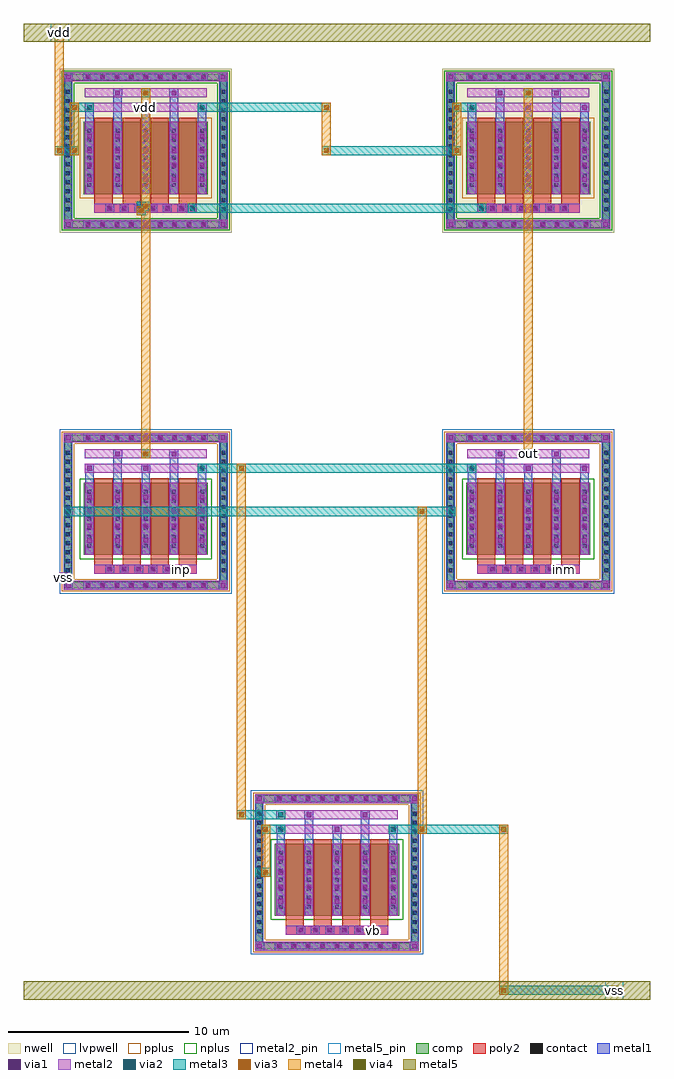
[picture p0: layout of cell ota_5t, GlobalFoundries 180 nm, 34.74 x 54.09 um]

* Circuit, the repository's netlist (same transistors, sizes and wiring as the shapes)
* NGSPICE file created from ota_5t.ext - technology: gf180mcuD

.subckt ota_5t vdd vss vb out inm inp
X0 out inm a_n688_3519# vss nfet_03v3 ad=1.12p pd=4.56u as=2.4p ps=9.2u w=4u l=1u
X1 vdd a_n568_7311# a_n568_7311# vdd pfet_03v3 ad=2.4p pd=9.2u as=1.12p ps=4.56u w=4u l=1u
X2 vss vb a_n688_3519# vss nfet_03v3 ad=2.4p pd=9.2u as=1.12p ps=4.56u w=4u l=1u
X3 a_n688_3519# inp a_n568_7311# vss nfet_03v3 ad=2.4p pd=9.2u as=1.12p ps=4.56u w=4u l=1u
X4 out a_n568_7311# vdd vdd pfet_03v3 ad=1.12p pd=4.56u as=1.12p ps=4.56u w=4u l=1u
X5 a_n568_7311# a_n568_7311# vdd vdd pfet_03v3 ad=1.12p pd=4.56u as=1.12p ps=4.56u w=4u l=1u
X6 vdd a_n568_7311# a_n568_7311# vdd pfet_03v3 ad=1.12p pd=4.56u as=1.12p ps=4.56u w=4u l=1u
X7 out inm a_n688_3519# vss nfet_03v3 ad=1.12p pd=4.56u as=1.12p ps=4.56u w=4u l=1u
X8 vdd a_n568_7311# out vdd pfet_03v3 ad=1.12p pd=4.56u as=1.12p ps=4.56u w=4u l=1u
X9 vdd a_n568_7311# out vdd pfet_03v3 ad=2.4p pd=9.2u as=1.12p ps=4.56u w=4u l=1u
X10 a_n688_3519# inp a_n568_7311# vss nfet_03v3 ad=1.12p pd=4.56u as=1.12p ps=4.56u w=4u l=1u
X11 a_n568_7311# inp a_n688_3519# vss nfet_03v3 ad=1.12p pd=4.56u as=1.12p ps=4.56u w=4u l=1u
X12 a_n688_3519# vb vss vss nfet_03v3 ad=1.12p pd=4.56u as=2.4p ps=9.2u w=4u l=1u
X13 a_n688_3519# inm out vss nfet_03v3 ad=1.12p pd=4.56u as=1.12p ps=4.56u w=4u l=1u
X14 a_n688_3519# inm out vss nfet_03v3 ad=2.4p pd=9.2u as=1.12p ps=4.56u w=4u l=1u
X15 a_n688_3519# vb vss vss nfet_03v3 ad=1.12p pd=4.56u as=1.12p ps=4.56u w=4u l=1u
X16 a_n568_7311# a_n568_7311# vdd vdd pfet_03v3 ad=1.12p pd=4.56u as=2.4p ps=9.2u w=4u l=1u
X17 a_n568_7311# inp a_n688_3519# vss nfet_03v3 ad=1.12p pd=4.56u as=2.4p ps=9.2u w=4u l=1u
X18 vss vb a_n688_3519# vss nfet_03v3 ad=1.12p pd=4.56u as=1.12p ps=4.56u w=4u l=1u
X19 out a_n568_7311# vdd vdd pfet_03v3 ad=1.12p pd=4.56u as=2.4p ps=9.2u w=4u l=1u
.ends

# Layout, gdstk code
import gdstk
lib = gdstk.Library(unit=1e-6, precision=5e-09)
def R(c, l, rs):  # rectangles x0, y0, x1, y1
    for r in rs: c.add(gdstk.rectangle(r[:2], r[2:], *l))
def A(c, l, x, y, w, h, nx, ny, dx, dy):  # array of equal rectangles
    R(c, l, [(x+i*dx, y+j*dy, x+i*dx+w, y+j*dy+h) for i in range(nx) for j in range(ny)])
def P(c, l, *ps):  # polygons
    for p in ps: c.add(gdstk.Polygon(p, *l))
nwell = (21, 0)
comp = (22, 0)
poly2 = (30, 0)
pplus = (31, 0)
nplus = (32, 0)
contact = (33, 0)
metal1 = (34, 0)
via1 = (35, 0)
metal2 = (36, 0)
metal2_pin = (36, 10)
via2 = (38, 0)
via3 = (40, 0)
via4 = (41, 0)
metal3 = (42, 0)
metal4 = (46, 0)
metal5 = (81, 0)
metal5_pin = (81, 10)
lvpwell = (204, 0)

ota_5t = lib.new_cell('ota_5t')
R(ota_5t, nwell, [(-4.77,35.455,4.77,44.545), (16.43,35.455,25.97,44.545), (-4.61,35.615,4.61,44.385), (16.59,35.615,25.81,44.385)])
A(ota_5t, comp, 7.22, -4.265, 0.36, 0.36, 9, 2, 0.8, 8.17)
A(ota_5t, comp, 6.11, -3.43, 0.36, 0.36, 1, 14, 0, 0.5)
A(ota_5t, comp, 14.73, -3.43, 0.36, 0.36, 1, 14, 0, 0.5)
A(ota_5t, comp, -3.38, 15.735, 0.36, 0.36, 9, 2, 0.8, 8.17)
A(ota_5t, comp, 17.82, 15.735, 0.36, 0.36, 9, 2, 0.8, 8.17)
A(ota_5t, comp, -4.49, 16.57, 0.36, 0.36, 1, 14, 0, 0.5)
A(ota_5t, comp, 4.13, 16.57, 0.36, 0.36, 1, 14, 0, 0.5)
A(ota_5t, comp, 16.71, 16.57, 0.36, 0.36, 1, 14, 0, 0.5)
A(ota_5t, comp, 25.33, 16.57, 0.36, 0.36, 1, 14, 0, 0.5)
A(ota_5t, comp, -3.38, 35.735, 0.36, 0.36, 9, 2, 0.8, 8.17)
A(ota_5t, comp, 17.82, 35.735, 0.36, 0.36, 9, 2, 0.8, 8.17)
A(ota_5t, comp, -4.49, 36.57, 0.36, 0.36, 1, 14, 0, 0.5)
A(ota_5t, comp, 4.13, 36.57, 0.36, 0.36, 1, 14, 0, 0.5)
A(ota_5t, comp, 16.71, 36.57, 0.36, 0.36, 1, 14, 0, 0.5)
A(ota_5t, comp, 25.33, 36.57, 0.36, 0.36, 1, 14, 0, 0.5)
R(ota_5t, comp, [(7.22,-4.265,13.98,-3.905), (6.11,-3.43,6.47,3.43), (14.73,-3.43,15.09,3.43), (7.16,-2.405,14.04,1.595), (7.22,3.905,13.98,4.265), (-3.38,15.735,3.38,16.095), (17.82,15.735,24.58,16.095), (-4.49,16.57,-4.13,23.43), (4.13,16.57,4.49,23.43), (16.71,16.57,17.07,23.43), (25.33,16.57,25.69,23.43), (-3.44,17.595,3.44,21.595), (17.76,17.595,24.64,21.595), (-3.38,23.905,3.38,24.265), (17.82,23.905,24.58,24.265), (-3.38,35.735,3.38,36.095), (17.82,35.735,24.58,36.095), (-4.49,36.57,-4.13,43.43), (4.13,36.57,4.49,43.43), (16.71,36.57,17.07,43.43), (25.33,36.57,25.69,43.43), (-3.44,37.595,3.44,41.595), (17.76,37.595,24.64,41.595), (-3.38,43.905,3.38,44.265), (17.82,43.905,24.58,44.265)])
P(ota_5t, comp, [(4.49,24.265),(-4.49,24.265),(-4.49,16.095),(-4.13,16.095),(-4.13,23.905),(4.13,23.905),(4.13,16.095),(-4.13,16.095),(-4.49,16.095),(-4.49,15.735),(4.49,15.735)],
  [(15.09,4.265),(6.11,4.265),(6.11,-3.905),(6.47,-3.905),(6.47,3.905),(14.73,3.905),(14.73,-3.905),(6.47,-3.905),(6.11,-3.905),(6.11,-4.265),(15.09,-4.265)],
  [(25.69,44.265),(16.71,44.265),(16.71,36.095),(17.07,36.095),(17.07,43.905),(25.33,43.905),(25.33,36.095),(17.07,36.095),(16.71,36.095),(16.71,35.735),(25.69,35.735)],
  [(4.49,44.265),(-4.49,44.265),(-4.49,36.095),(-4.13,36.095),(-4.13,43.905),(4.13,43.905),(4.13,36.095),(-4.13,36.095),(-4.49,36.095),(-4.49,35.735),(4.49,35.735)],
  [(25.69,24.265),(16.71,24.265),(16.71,16.095),(17.07,16.095),(17.07,23.905),(25.33,23.905),(25.33,16.095),(17.07,16.095),(16.71,16.095),(16.71,15.735),(25.69,15.735)])
A(ota_5t, poly2, 8.42, -3.375, 0.36, 0.36, 6, 1, 0.8, 0)
A(ota_5t, poly2, 7.76, -2.945, 1, 0.3, 4, 1, 1.56, 0)
A(ota_5t, poly2, 7.76, -2.645, 1, 4.48, 4, 1, 1.56, 0)
A(ota_5t, poly2, -2.18, 16.625, 0.36, 0.36, 6, 2, 0.8, 20)
A(ota_5t, poly2, 19.02, 16.625, 0.36, 0.36, 6, 2, 0.8, 20)
A(ota_5t, poly2, -2.84, 17.055, 1, 0.3, 4, 2, 1.56, 20)
A(ota_5t, poly2, 18.36, 17.055, 1, 0.3, 4, 2, 1.56, 20)
A(ota_5t, poly2, -2.84, 17.355, 1, 4.48, 4, 2, 1.56, 20)
A(ota_5t, poly2, 18.36, 17.355, 1, 4.48, 4, 2, 1.56, 20)
R(ota_5t, poly2, [(7.76,-3.445,13.44,-2.945), (-2.84,16.555,2.84,17.055), (18.36,16.555,24.04,17.055), (-2.84,36.555,2.84,37.055), (18.36,36.555,24.04,37.055)])
R(ota_5t, pplus, [(-3.67,37.365,3.67,41.825), (17.53,37.365,24.87,41.825)])
P(ota_5t, pplus, [(4.65,24.425),(-4.65,24.425),(-4.65,16.255),(-3.97,16.255),(-3.97,23.745),(3.97,23.745),(3.97,16.255),(-3.97,16.255),(-4.65,16.255),(-4.65,15.575),(4.65,15.575)],
  [(15.25,4.425),(5.95,4.425),(5.95,-3.745),(6.63,-3.745),(6.63,3.745),(14.57,3.745),(14.57,-3.745),(6.63,-3.745),(5.95,-3.745),(5.95,-4.425),(15.25,-4.425)],
  [(25.85,24.425),(16.55,24.425),(16.55,16.255),(17.23,16.255),(17.23,23.745),(25.17,23.745),(25.17,16.255),(17.23,16.255),(16.55,16.255),(16.55,15.575),(25.85,15.575)])
R(ota_5t, nplus, [(6.93,-2.635,14.27,1.825), (-3.67,17.365,3.67,21.825), (17.53,17.365,24.87,21.825)])
P(ota_5t, nplus, [(25.85,44.425),(16.55,44.425),(16.55,36.255),(17.23,36.255),(17.23,43.745),(25.17,43.745),(25.17,36.255),(17.23,36.255),(16.55,36.255),(16.55,35.575),(25.85,35.575)],
  [(4.65,44.425),(-4.65,44.425),(-4.65,36.255),(-3.97,36.255),(-3.97,43.745),(3.97,43.745),(3.97,36.255),(-3.97,36.255),(-4.65,36.255),(-4.65,35.575),(4.65,35.575)])
A(ota_5t, contact, 7.29, -4.195, 0.22, 0.22, 9, 2, 0.8, 8.17)
A(ota_5t, contact, 6.18, -3.36, 0.22, 0.22, 1, 14, 0, 0.5)
A(ota_5t, contact, 14.8, -3.36, 0.22, 0.22, 1, 14, 0, 0.5)
A(ota_5t, contact, 8.49, -3.305, 0.22, 0.22, 6, 1, 0.8, 0)
A(ota_5t, contact, 7.37, -2.015, 0.22, 0.22, 5, 7, 1.56, 0.5)
A(ota_5t, contact, -3.31, 15.805, 0.22, 0.22, 9, 2, 0.8, 8.17)
A(ota_5t, contact, 17.89, 15.805, 0.22, 0.22, 9, 2, 0.8, 8.17)
A(ota_5t, contact, -4.42, 16.64, 0.22, 0.22, 1, 14, 0, 0.5)
A(ota_5t, contact, 4.2, 16.64, 0.22, 0.22, 1, 14, 0, 0.5)
A(ota_5t, contact, 16.78, 16.64, 0.22, 0.22, 1, 14, 0, 0.5)
A(ota_5t, contact, 25.4, 16.64, 0.22, 0.22, 1, 14, 0, 0.5)
A(ota_5t, contact, -2.11, 16.695, 0.22, 0.22, 6, 2, 0.8, 20)
A(ota_5t, contact, 19.09, 16.695, 0.22, 0.22, 6, 2, 0.8, 20)
A(ota_5t, contact, -3.23, 17.985, 0.22, 0.22, 5, 7, 1.56, 0.5)
A(ota_5t, contact, 17.97, 17.985, 0.22, 0.22, 5, 7, 1.56, 0.5)
A(ota_5t, contact, -3.31, 35.805, 0.22, 0.22, 9, 2, 0.8, 8.17)
A(ota_5t, contact, 17.89, 35.805, 0.22, 0.22, 9, 2, 0.8, 8.17)
A(ota_5t, contact, -4.42, 36.64, 0.22, 0.22, 1, 14, 0, 0.5)
A(ota_5t, contact, 4.2, 36.64, 0.22, 0.22, 1, 14, 0, 0.5)
A(ota_5t, contact, 16.78, 36.64, 0.22, 0.22, 1, 14, 0, 0.5)
A(ota_5t, contact, 25.4, 36.64, 0.22, 0.22, 1, 14, 0, 0.5)
A(ota_5t, contact, -3.23, 37.985, 0.22, 0.22, 5, 7, 1.56, 0.5)
A(ota_5t, contact, 17.97, 37.985, 0.22, 0.22, 5, 7, 1.56, 0.5)
A(ota_5t, metal1, 6.06, -4.335, 0.5, 0.5, 1, 3, 0, 4.085)
A(ota_5t, metal1, 7.15, -4.335, 0.5, 0.5, 9, 2, 0.8, 8.17)
A(ota_5t, metal1, 6.06, -3.48, 0.46, 0.46, 1, 14, 0, 0.5)
A(ota_5t, metal1, 14.68, -3.48, 0.46, 0.46, 1, 14, 0, 0.5)
A(ota_5t, metal1, 8.35, -3.445, 0.5, 0.5, 6, 1, 0.8, 0)
A(ota_5t, metal1, 7.25, -2.405, 0.46, 4, 5, 1, 1.56, 0)
A(ota_5t, metal1, 7.25, -2.135, 0.46, 0.46, 5, 7, 1.56, 0.5)
A(ota_5t, metal1, 7.23, -1.855, 0.5, 0.5, 5, 4, 1.56, 0.8)
A(ota_5t, metal1, 7.23, -1.855, 0.5, 2.9, 5, 1, 1.56, 0)
A(ota_5t, metal1, 7.25, 1.595, 0.46, 1.05, 3, 1, 3.12, 0)
A(ota_5t, metal1, 7.23, 2.145, 0.5, 0.5, 3, 1, 3.12, 0)
A(ota_5t, metal1, -4.54, 15.665, 0.5, 0.5, 1, 3, 0, 4.085)
A(ota_5t, metal1, -3.45, 15.665, 0.5, 0.5, 9, 2, 0.8, 8.17)
A(ota_5t, metal1, 17.75, 15.665, 0.5, 0.5, 9, 2, 0.8, 8.17)
A(ota_5t, metal1, -4.54, 16.52, 0.46, 0.46, 1, 14, 0, 0.5)
A(ota_5t, metal1, 4.08, 16.52, 0.46, 0.46, 1, 14, 0, 0.5)
A(ota_5t, metal1, 16.66, 16.52, 0.46, 0.46, 1, 14, 0, 0.5)
A(ota_5t, metal1, 25.28, 16.52, 0.46, 0.46, 1, 14, 0, 0.5)
A(ota_5t, metal1, -2.25, 16.555, 0.5, 0.5, 6, 2, 0.8, 20)
A(ota_5t, metal1, 18.95, 16.555, 0.5, 0.5, 6, 2, 0.8, 20)
A(ota_5t, metal1, -3.35, 17.595, 0.46, 4, 5, 2, 1.56, 20)
A(ota_5t, metal1, 17.85, 17.595, 0.46, 4, 5, 2, 1.56, 20)
A(ota_5t, metal1, -3.35, 17.865, 0.46, 0.46, 5, 7, 1.56, 0.5)
A(ota_5t, metal1, 17.85, 17.865, 0.46, 0.46, 5, 7, 1.56, 0.5)
A(ota_5t, metal1, -3.37, 18.145, 0.5, 0.5, 5, 4, 1.56, 0.8)
A(ota_5t, metal1, -3.37, 18.145, 0.5, 2.9, 5, 2, 1.56, 20)
A(ota_5t, metal1, 17.83, 18.145, 0.5, 0.5, 5, 4, 1.56, 0.8)
A(ota_5t, metal1, 17.83, 18.145, 0.5, 2.9, 5, 2, 1.56, 20)
A(ota_5t, metal1, -3.35, 21.595, 0.46, 1.05, 3, 2, 3.12, 20)
A(ota_5t, metal1, 17.85, 21.595, 0.46, 1.05, 3, 2, 3.12, 20)
A(ota_5t, metal1, -3.37, 22.145, 0.5, 0.5, 3, 2, 3.12, 20)
A(ota_5t, metal1, 17.83, 22.145, 0.5, 0.5, 3, 2, 3.12, 20)
A(ota_5t, metal1, -3.45, 35.665, 0.5, 0.5, 9, 2, 0.8, 8.17)
A(ota_5t, metal1, 17.75, 35.665, 0.5, 0.5, 9, 2, 0.8, 8.17)
A(ota_5t, metal1, -4.54, 36.52, 0.46, 0.46, 1, 14, 0, 0.5)
A(ota_5t, metal1, 4.08, 36.52, 0.46, 0.46, 1, 14, 0, 0.5)
A(ota_5t, metal1, 16.66, 36.52, 0.46, 0.46, 1, 14, 0, 0.5)
A(ota_5t, metal1, 25.28, 36.52, 0.46, 0.46, 1, 14, 0, 0.5)
A(ota_5t, metal1, -3.35, 37.865, 0.46, 0.46, 5, 7, 1.56, 0.5)
A(ota_5t, metal1, 17.85, 37.865, 0.46, 0.46, 5, 7, 1.56, 0.5)
A(ota_5t, metal1, -3.37, 38.145, 0.5, 0.5, 5, 4, 1.56, 0.8)
A(ota_5t, metal1, 17.83, 38.145, 0.5, 0.5, 5, 4, 1.56, 0.8)
R(ota_5t, metal1, [(6.06,-4.335,6.56,-3.835), (6.06,-4.335,6.52,-3.905), (7.15,-4.335,14.05,-3.835), (14.64,-4.335,15.14,-3.835), (14.64,-4.335,15.14,-3.835), (14.68,-4.335,15.14,-3.905), (6.06,-3.905,6.52,3.905), (14.68,-3.905,15.14,3.905), (8.81,1.595,9.27,3.445), (11.93,1.595,12.39,3.445), (8.79,2.945,9.29,3.445), (11.91,2.945,12.41,3.445), (6.06,3.835,6.56,4.335), (7.15,3.835,14.05,4.335), (14.64,3.835,15.14,4.335), (14.64,3.835,15.14,4.335), (6.06,3.905,6.52,4.335), (14.68,3.905,15.14,4.335), (-4.54,15.665,-4.04,16.165), (-4.54,15.665,-4.08,16.095), (-3.45,15.665,3.45,16.165), (4.04,15.665,4.54,16.165), (4.04,15.665,4.54,16.165), (4.08,15.665,4.54,16.095), (16.66,15.665,17.16,16.165), (16.66,15.665,17.16,16.165), (16.66,15.665,17.12,16.095), (17.75,15.665,24.65,16.165), (25.24,15.665,25.74,16.165), (25.24,15.665,25.74,16.165), (25.28,15.665,25.74,16.095), (-4.54,16.095,-4.08,23.905), (4.08,16.095,4.54,23.905), (16.66,16.095,17.12,23.905), (25.28,16.095,25.74,23.905), (16.66,19.75,17.16,20.25), (16.66,19.75,17.16,20.25), (-1.79,21.595,-1.33,23.445), (1.33,21.595,1.79,23.445), (19.41,21.595,19.87,23.445), (22.53,21.595,22.99,23.445), (-1.81,22.945,-1.31,23.445), (1.31,22.945,1.81,23.445), (19.39,22.945,19.89,23.445), (22.51,22.945,23.01,23.445), (-4.54,23.835,-4.04,24.335), (-3.45,23.835,3.45,24.335), (4.04,23.835,4.54,24.335), (4.04,23.835,4.54,24.335), (16.66,23.835,17.16,24.335), (16.66,23.835,17.16,24.335), (17.75,23.835,24.65,24.335), (25.24,23.835,25.74,24.335), (25.24,23.835,25.74,24.335), (-4.54,23.905,-4.08,24.335), (4.08,23.905,4.54,24.335), (16.66,23.905,17.12,24.335), (25.28,23.905,25.74,24.335), (-4.54,35.665,-4.04,36.165), (-4.54,35.665,-4.04,36.165), (-4.54,35.665,-4.08,36.095), (-3.45,35.665,3.45,36.165), (4.04,35.665,4.54,36.165), (4.04,35.665,4.54,36.165), (4.08,35.665,4.54,36.095), (16.66,35.665,17.16,36.165), (16.66,35.665,17.16,36.165), (16.66,35.665,17.12,36.095), (17.75,35.665,24.65,36.165), (25.24,35.665,25.74,36.165), (25.24,35.665,25.74,36.165), (25.28,35.665,25.74,36.095), (-4.54,36.095,-4.08,43.905), (4.08,36.095,4.54,43.905), (16.66,36.095,17.12,43.905), (25.28,36.095,25.74,43.905), (-4.54,39.75,-4.04,40.25), (-4.54,39.75,-4.04,40.25), (16.66,39.75,17.16,40.25), (16.66,39.75,17.16,40.25), (-1.79,41.595,-1.33,43.445), (1.33,41.595,1.79,43.445), (19.41,41.595,19.87,43.445), (22.53,41.595,22.99,43.445), (-1.81,42.945,-1.31,43.445), (1.31,42.945,1.81,43.445), (19.39,42.945,19.89,43.445), (22.51,42.945,23.01,43.445), (-4.54,43.835,-4.04,44.335), (-4.54,43.835,-4.04,44.335), (-3.45,43.835,3.45,44.335), (4.04,43.835,4.54,44.335), (4.04,43.835,4.54,44.335), (16.66,43.835,17.16,44.335), (16.66,43.835,17.16,44.335), (17.75,43.835,24.65,44.335), (25.24,43.835,25.74,44.335), (25.24,43.835,25.74,44.335), (-4.54,43.905,-4.08,44.335), (4.08,43.905,4.54,44.335), (16.66,43.905,17.12,44.335), (25.28,43.905,25.74,44.335)])
A(ota_5t, via1, 6.18, -4.215, 0.26, 0.26, 1, 3, 0, 4.085)
A(ota_5t, via1, 7.27, -4.215, 0.26, 0.26, 9, 2, 0.8, 8.17)
A(ota_5t, via1, 8.47, -3.325, 0.26, 0.26, 6, 1, 0.8, 0)
A(ota_5t, via1, 7.35, -1.735, 0.26, 0.26, 5, 4, 1.56, 0.8)
A(ota_5t, via1, 7.35, 2.265, 0.26, 0.26, 3, 1, 3.12, 0)
A(ota_5t, via1, -4.42, 15.785, 0.26, 0.26, 1, 3, 0, 4.085)
A(ota_5t, via1, -3.33, 15.785, 0.26, 0.26, 9, 2, 0.8, 8.17)
A(ota_5t, via1, 17.87, 15.785, 0.26, 0.26, 9, 2, 0.8, 8.17)
A(ota_5t, via1, -2.13, 16.675, 0.26, 0.26, 6, 2, 0.8, 20)
A(ota_5t, via1, 19.07, 16.675, 0.26, 0.26, 6, 2, 0.8, 20)
A(ota_5t, via1, -3.25, 18.265, 0.26, 0.26, 5, 4, 1.56, 0.8)
A(ota_5t, via1, 17.95, 18.265, 0.26, 0.26, 5, 4, 1.56, 0.8)
A(ota_5t, via1, -3.25, 22.265, 0.26, 0.26, 3, 2, 3.12, 20)
A(ota_5t, via1, 17.95, 22.265, 0.26, 0.26, 3, 2, 3.12, 20)
A(ota_5t, via1, -3.33, 35.785, 0.26, 0.26, 9, 2, 0.8, 8.17)
A(ota_5t, via1, 17.87, 35.785, 0.26, 0.26, 9, 2, 0.8, 8.17)
A(ota_5t, via1, -3.25, 38.265, 0.26, 0.26, 5, 4, 1.56, 0.8)
A(ota_5t, via1, 17.95, 38.265, 0.26, 0.26, 5, 4, 1.56, 0.8)
R(ota_5t, via1, [(14.76,-4.215,15.02,-3.955), (8.91,3.065,9.17,3.325), (12.03,3.065,12.29,3.325), (14.76,3.955,15.02,4.215), (4.16,15.785,4.42,16.045), (16.78,15.785,17.04,16.045), (25.36,15.785,25.62,16.045), (16.78,19.87,17.04,20.13), (16.78,19.87,17.04,20.13), (-1.69,23.065,-1.43,23.325), (1.43,23.065,1.69,23.325), (19.51,23.065,19.77,23.325), (22.63,23.065,22.89,23.325), (4.16,23.955,4.42,24.215), (16.78,23.955,17.04,24.215), (25.36,23.955,25.62,24.215), (-4.42,35.785,-4.16,36.045), (4.16,35.785,4.42,36.045), (16.78,35.785,17.04,36.045), (25.36,35.785,25.62,36.045), (-4.42,39.87,-4.16,40.13), (-4.42,39.87,-4.16,40.13), (16.78,39.87,17.04,40.13), (16.78,39.87,17.04,40.13), (-1.69,43.065,-1.43,43.325), (1.43,43.065,1.69,43.325), (19.51,43.065,19.77,43.325), (22.63,43.065,22.89,43.325), (-4.42,43.955,-4.16,44.215), (4.16,43.955,4.42,44.215), (16.78,43.955,17.04,44.215), (25.36,43.955,25.62,44.215)])
A(ota_5t, metal2, 6.06, -4.335, 0.5, 0.5, 1, 3, 0, 4.085)
A(ota_5t, metal2, 7.15, -4.335, 0.5, 0.5, 9, 2, 0.8, 8.17)
A(ota_5t, metal2, 8.35, -3.445, 0.5, 0.5, 6, 1, 0.8, 0)
A(ota_5t, metal2, 7.23, -2.405, 0.5, 4, 5, 1, 1.56, 0)
A(ota_5t, metal2, 7.23, -1.855, 0.5, 0.5, 5, 4, 1.56, 0.8)
A(ota_5t, metal2, 7.23, 2.145, 0.5, 0.5, 3, 1, 3.12, 0)
A(ota_5t, metal2, -4.54, 15.665, 0.5, 0.5, 1, 3, 0, 4.085)
A(ota_5t, metal2, -3.45, 15.665, 0.5, 0.5, 9, 2, 0.8, 8.17)
A(ota_5t, metal2, 17.75, 15.665, 0.5, 0.5, 9, 2, 0.8, 8.17)
A(ota_5t, metal2, -2.25, 16.555, 0.5, 0.5, 6, 2, 0.8, 20)
A(ota_5t, metal2, 18.95, 16.555, 0.5, 0.5, 6, 2, 0.8, 20)
A(ota_5t, metal2, -3.37, 17.595, 0.5, 4, 5, 2, 1.56, 20)
A(ota_5t, metal2, 17.83, 17.595, 0.5, 4, 5, 2, 1.56, 20)
A(ota_5t, metal2, -3.37, 18.145, 0.5, 0.5, 5, 4, 1.56, 0.8)
A(ota_5t, metal2, 17.83, 18.145, 0.5, 0.5, 5, 4, 1.56, 0.8)
A(ota_5t, metal2, -3.37, 22.145, 0.5, 0.5, 3, 1, 3.12, 0)
A(ota_5t, metal2, 17.83, 22.145, 0.5, 0.5, 3, 2, 3.12, 20)
A(ota_5t, metal2, -1.81, 22.945, 0.5, 0.5, 3, 2, 1.56, 20)
A(ota_5t, metal2, -3.45, 35.665, 0.5, 0.5, 9, 2, 0.8, 8.17)
A(ota_5t, metal2, 17.75, 35.665, 0.5, 0.5, 9, 2, 0.8, 8.17)
A(ota_5t, metal2, -3.37, 38.145, 0.5, 0.5, 5, 4, 1.56, 0.8)
A(ota_5t, metal2, 17.83, 38.145, 0.5, 0.5, 5, 4, 1.56, 0.8)
A(ota_5t, metal2, 19.39, 42.945, 0.5, 0.5, 3, 1, 1.56, 0)
R(ota_5t, metal2, [(25.72,-6.795,26.22,-6.295), (25.72,-6.795,26.22,-6.295), (6.06,-4.335,6.56,-3.835), (6.06,-4.335,6.47,-3.835), (6.47,-4.335,14.73,-3.835), (14.64,-4.335,15.14,-3.835), (14.64,-4.335,15.14,-3.835), (14.73,-4.335,15.14,-3.835), (7.76,-3.445,13.44,-2.945), (12.35,-3.445,12.85,-2.945), (7.23,2.145,7.73,2.645), (7.23,2.145,13.97,2.645), (13.47,2.145,13.97,2.645), (13.47,2.145,13.97,2.645), (7.23,2.945,7.73,3.445), (7.23,2.945,13.97,3.445), (8.79,2.945,9.29,3.445), (11.91,2.945,12.41,3.445), (6.06,3.835,6.56,4.335), (6.06,3.835,6.47,4.335), (6.47,3.835,14.73,4.335), (14.64,3.835,15.14,4.335), (14.64,3.835,15.14,4.335), (14.73,3.835,15.14,4.335), (-4.54,15.665,-4.04,16.165), (-4.54,15.665,-4.13,16.165), (-4.13,15.665,4.13,16.165), (4.04,15.665,4.54,16.165), (4.04,15.665,4.54,16.165), (4.13,15.665,4.54,16.165), (16.66,15.665,17.16,16.165), (16.66,15.665,17.16,16.165), (16.66,15.665,17.07,16.165), (17.07,15.665,25.33,16.165), (25.24,15.665,25.74,16.165), (25.24,15.665,25.74,16.165), (25.33,15.665,25.74,16.165), (-4.79,16.095,-4.29,16.595), (-2.84,16.555,2.84,17.055), (1.75,16.555,2.25,17.055), (18.36,16.555,24.04,17.055), (22.95,16.555,23.45,17.055), (16.66,19.75,17.16,20.25), (16.66,19.75,17.16,20.25), (-3.37,22.145,3.37,22.645), (2.87,22.145,3.37,22.645), (2.87,22.145,3.37,22.645), (17.83,22.145,18.33,22.645), (17.83,22.145,24.57,22.645), (-3.37,22.945,3.37,23.445), (17.83,22.945,24.57,23.445), (19.39,22.945,19.89,23.445), (20.95,22.945,21.45,23.445), (20.95,22.945,21.45,23.445), (22.51,22.945,23.01,23.445), (-4.54,23.835,-4.04,24.335), (-4.54,23.835,-4.13,24.335), (-4.13,23.835,4.13,24.335), (4.04,23.835,4.54,24.335), (4.04,23.835,4.54,24.335), (4.13,23.835,4.54,24.335), (16.66,23.835,17.16,24.335), (16.66,23.835,17.16,24.335), (16.66,23.835,17.07,24.335), (17.07,23.835,25.33,24.335), (25.24,23.835,25.74,24.335), (25.24,23.835,25.74,24.335), (25.33,23.835,25.74,24.335), (-4.54,35.665,-4.04,36.165), (-4.54,35.665,-4.04,36.165), (-4.54,35.665,-4.13,36.165), (-4.13,35.665,4.13,36.165), (4.04,35.665,4.54,36.165), (4.04,35.665,4.54,36.165), (4.13,35.665,4.54,36.165), (16.66,35.665,17.16,36.165), (16.66,35.665,17.16,36.165), (16.66,35.665,17.07,36.165), (17.07,35.665,25.33,36.165), (25.24,35.665,25.74,36.165), (25.24,35.665,25.74,36.165), (25.33,35.665,25.74,36.165), (-0.5,36.43,0,36.93), (-2.84,36.555,2.84,37.055), (2.34,36.555,2.84,37.055), (18.36,36.555,18.86,37.055), (18.36,36.555,24.04,37.055), (-0.5,36.68,0,37.18), (-4.54,39.75,-4.04,40.25), (-4.54,39.75,-4.04,40.25), (16.66,39.75,17.16,40.25), (16.66,39.75,17.16,40.25), (-3.37,42.145,-2.87,42.645), (-3.37,42.145,-2.87,42.645), (-3.37,42.145,3.37,42.645), (-0.25,42.145,0.25,42.645), (-0.25,42.145,0.25,42.645), (2.87,42.145,3.37,42.645), (2.87,42.145,3.37,42.645), (17.83,42.145,18.33,42.645), (17.83,42.145,24.57,42.645), (-3.37,42.945,3.37,43.445), (17.83,42.945,24.57,43.445), (-4.54,43.835,-4.04,44.335), (-4.54,43.835,-4.04,44.335), (-4.54,43.835,-4.13,44.335), (-4.13,43.835,4.13,44.335), (4.04,43.835,4.54,44.335), (4.04,43.835,4.54,44.335), (4.13,43.835,4.54,44.335), (16.66,43.835,17.16,44.335), (16.66,43.835,17.16,44.335), (16.66,43.835,17.07,44.335), (17.07,43.835,25.33,44.335), (25.24,43.835,25.74,44.335), (25.24,43.835,25.74,44.335), (25.33,43.835,25.74,44.335), (-5.02,46.295,-4.52,46.795), (-5.02,46.295,-4.52,46.795)])
R(ota_5t, metal2_pin, [(12.35,-3.445,12.85,-2.945), (-4.79,16.095,-4.29,16.595), (1.75,16.555,2.25,17.055), (22.95,16.555,23.45,17.055), (20.95,22.945,21.45,23.445), (-0.25,42.145,0.25,42.645)])
R(ota_5t, via2, [(25.84,-6.675,26.1,-6.415), (25.84,-6.675,26.1,-6.415), (6.18,-0.13,6.44,0.13), (7.35,2.265,7.61,2.525), (13.59,2.265,13.85,2.525), (13.59,2.265,13.85,2.525), (7.35,3.065,7.61,3.325), (-4.42,19.87,-4.16,20.13), (16.78,19.87,17.04,20.13), (16.78,19.87,17.04,20.13), (2.99,22.265,3.25,22.525), (2.99,22.265,3.25,22.525), (17.95,22.265,18.21,22.525), (-0.13,23.065,0.13,23.325), (21.07,23.065,21.33,23.325), (-0.38,36.55,-0.12,36.81), (2.46,36.675,2.72,36.935), (18.48,36.675,18.74,36.935), (-0.38,36.8,-0.12,37.06), (-4.42,39.87,-4.16,40.13), (-4.42,39.87,-4.16,40.13), (16.78,39.87,17.04,40.13), (16.78,39.87,17.04,40.13), (-3.25,42.265,-2.99,42.525), (2.99,42.265,3.25,42.525), (17.95,42.265,18.21,42.525), (-0.13,43.065,0.13,43.325), (21.07,43.065,21.33,43.325), (-4.9,46.415,-4.64,46.675), (-4.9,46.415,-4.64,46.675)])
R(ota_5t, via3, [(19.715,-6.675,19.975,-6.415), (25.84,-6.675,26.1,-6.415), (6.515,-0.13,6.775,0.13), (6.515,2.265,6.775,2.525), (15.185,2.265,15.445,2.525), (19.715,2.265,19.975,2.525), (5.17,3.065,5.43,3.325), (15.185,19.87,15.445,20.13), (5.17,22.265,5.43,22.525), (-0.13,23.065,0.13,23.325), (21.07,23.065,21.33,23.325), (-0.38,36.55,-0.12,36.81), (-0.13,36.8,0.13,37.06), (-4.91,39.87,-4.65,40.13), (-4.085,39.87,-3.825,40.13), (9.885,39.87,10.145,40.13), (17.115,39.87,17.375,40.13), (-4.085,42.265,-3.825,42.525), (9.885,42.265,10.145,42.525), (17.115,42.265,17.375,42.525), (-0.13,43.065,0.13,43.325), (21.07,43.065,21.33,43.325), (-4.91,46.415,-4.65,46.675), (-4.9,46.415,-4.64,46.675)])
R(ota_5t, via4, [(25.84,-6.675,26.1,-6.415), (-4.9,46.415,-4.64,46.675)])
R(ota_5t, metal3, [(19.595,-6.795,20.095,-6.295), (19.845,-6.795,25.72,-6.295), (25.72,-6.795,26.22,-6.295), (25.72,-6.795,26.22,-6.295), (6.06,-0.25,6.645,0.25), (6.06,-0.25,6.56,0.25), (6.395,-0.25,6.895,0.25), (6.395,2.145,6.895,2.645), (6.645,2.145,7.23,2.645), (7.23,2.145,7.73,2.645), (13.47,2.145,13.97,2.645), (13.47,2.145,13.97,2.645), (13.97,2.145,15.315,2.645), (13.97,2.145,19.845,2.645), (15.065,2.145,15.565,2.645), (19.595,2.145,20.095,2.645), (5.05,2.945,5.55,3.445), (5.3,2.945,7.23,3.445), (7.23,2.945,7.73,3.445), (-4.54,19.75,16.66,20.25), (-4.54,19.75,-4.04,20.25), (15.065,19.75,15.565,20.25), (15.315,19.75,16.66,20.25), (16.66,19.75,17.16,20.25), (16.66,19.75,17.16,20.25), (2.87,22.145,3.37,22.645), (2.87,22.145,3.37,22.645), (3.37,22.145,17.83,22.645), (3.37,22.145,5.3,22.645), (5.05,22.145,5.55,22.645), (17.83,22.145,18.33,22.645), (-0.25,22.945,0.25,23.445), (20.95,22.945,21.45,23.445), (-0.5,36.43,0,36.93), (2.34,36.555,2.84,37.055), (2.84,36.555,18.36,37.055), (18.36,36.555,18.86,37.055), (-0.5,36.68,0,37.18), (-0.25,36.68,0.25,37.18), (-5.03,39.75,-4.53,40.25), (-4.78,39.75,-4.54,40.25), (-4.54,39.75,-3.955,40.25), (-4.54,39.75,-4.04,40.25), (-4.54,39.75,-4.04,40.25), (-4.205,39.75,-3.705,40.25), (9.765,39.75,10.265,40.25), (10.015,39.75,16.66,40.25), (16.66,39.75,17.245,40.25), (16.66,39.75,17.16,40.25), (16.66,39.75,17.16,40.25), (16.995,39.75,17.495,40.25), (-4.205,42.145,-3.705,42.645), (-3.955,42.145,-3.37,42.645), (-3.37,42.145,-2.87,42.645), (2.87,42.145,3.37,42.645), (3.37,42.145,10.015,42.645), (9.765,42.145,10.265,42.645), (16.995,42.145,17.495,42.645), (17.245,42.145,17.83,42.645), (17.83,42.145,18.33,42.645), (-0.25,42.945,0.25,43.445), (20.95,42.945,21.45,43.445), (-5.03,46.295,-4.53,46.795), (-5.02,46.295,-4.78,46.795), (-5.02,46.295,-4.52,46.795), (-5.02,46.295,-4.52,46.795)])
R(ota_5t, metal4, [(19.595,-6.795,20.095,-6.295), (25.72,-6.795,26.22,-6.295), (19.595,-6.545,20.095,2.395), (6.395,-0.25,6.895,0.25), (6.395,0,6.895,2.395), (6.395,2.145,6.895,2.645), (15.065,2.145,15.565,2.645), (19.595,2.145,20.095,2.645), (15.065,2.395,15.565,20), (5.05,2.945,5.55,3.445), (5.05,3.195,5.55,22.395), (15.065,19.75,15.565,20.25), (5.05,22.145,5.55,22.645), (-0.25,22.945,0.25,23.445), (20.95,22.945,21.45,23.445), (-0.25,23.445,0.25,36.68), (20.95,23.445,21.45,42.945), (-0.5,36.43,0,36.93), (-0.25,36.68,0.25,37.18), (-0.25,36.93,0.25,42.945), (-5.03,39.75,-4.53,40.25), (-4.205,39.75,-3.705,40.25), (9.765,39.75,10.265,40.25), (16.995,39.75,17.495,40.25), (-5.03,40,-4.53,46.545), (-4.205,40,-3.705,42.395), (9.765,40,10.265,42.395), (16.995,40,17.495,42.395), (-4.205,42.145,-3.705,42.645), (9.765,42.145,10.265,42.645), (16.995,42.145,17.495,42.645), (-0.25,42.945,0.25,43.445), (20.95,42.945,21.45,43.445), (-5.03,46.295,-4.53,46.795), (-5.02,46.295,-4.52,46.795)])
R(ota_5t, metal5, [(-6.77,-7.045,27.97,-6.045), (25.72,-6.795,26.22,-6.295), (-6.77,46.045,27.97,47.045), (-5.02,46.295,-4.52,46.795)])
R(ota_5t, metal5_pin, [(25.47,-7.045,26.47,-6.045), (-5.27,46.045,-4.27,47.045)])
R(ota_5t, lvpwell, [(5.83,-4.545,15.37,4.545), (-4.77,15.455,4.77,24.545), (16.43,15.455,25.97,24.545)])
ota_5t.add(gdstk.Label('vdd', (-4.77,46.545), layer=81, texttype=10))
ota_5t.add(gdstk.Label('vss', (25.97,-6.545), layer=81, texttype=10))
ota_5t.add(gdstk.Label('vb', (12.6,-3.195), layer=36, texttype=10))
ota_5t.add(gdstk.Label('out', (21.2,23.195), layer=36, texttype=10))
ota_5t.add(gdstk.Label('inm', (23.2,16.805), layer=36, texttype=10))
ota_5t.add(gdstk.Label('inp', (2,16.805), layer=36, texttype=10))
ota_5t.add(gdstk.Label('vss', (-4.54,16.345), layer=36, texttype=10))
ota_5t.add(gdstk.Label('vdd', (0,42.395), layer=36, texttype=10))

lib.write_gds('ota_5t.gds')
